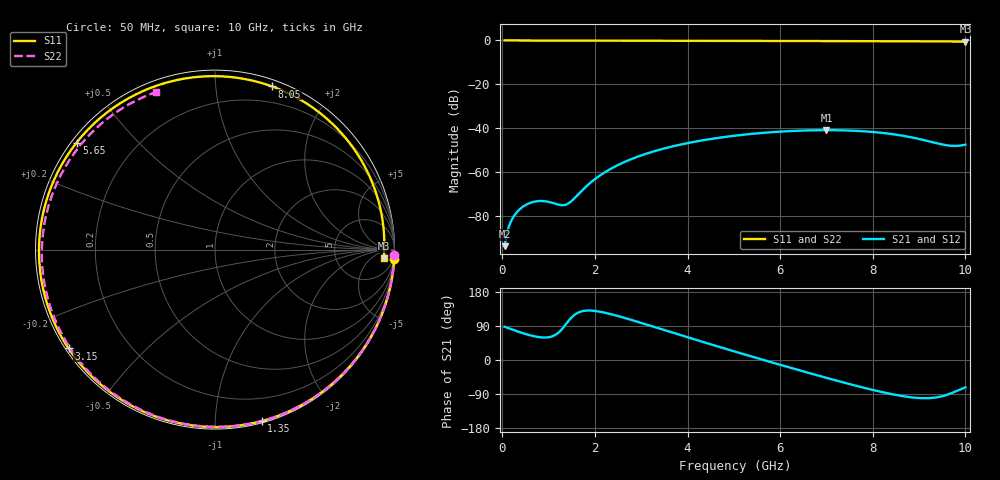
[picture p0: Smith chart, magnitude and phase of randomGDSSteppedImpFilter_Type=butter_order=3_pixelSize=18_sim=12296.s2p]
! freq	dB(S11)	phase(S11)	dB(S12)	phase(S12)
!  dB(S21)	phase(S21)	dB(S22)	phase(S22)
!S-par simulation data
#  GHz  S  DB  R 50
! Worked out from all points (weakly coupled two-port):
!   200 points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, 50 MHz to 10 GHz, reference 50 ohm
!   highest |S21| = -40.88 dB at 7 GHz (marker M1); lowest = -93.7 dB at 50 MHz (marker M2)
!   lowest |S11| = -0.5 dB at 10 GHz (marker M3), VSWR 33.23, Z = 966 - j819 ohm
!   |S11| at or under -10 dB: nowhere
!   |S22| runs from -0.6 to 0.0 dB; largest |S21 - S12| = 0
!   S11 on the Smith chart (normalised r, x): 50 MHz: 0, -38; 1.35 GHz: 0.01, -1.31; 3.15 GHz: 0.01, -0.31; 5.65 GHz: 0.01, +0.34; 8.05 GHz: 0.06, +1.41; 10 GHz: 19, -16
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0.05  -0.00 -3.0  -93.75 87.7  -93.75 87.7  -0.00 -1.6
0.25  -0.02 -14.9  -80.07 78.8  -80.07 78.8  -0.01 -8.0
0.45  -0.04 -26.5  -75.69 70.5  -75.69 70.5  -0.02 -14.3
0.7  -0.05 -40.7  -73.45 62.3  -73.45 62.3  -0.03 -22.2
1  -0.07 -57.0  -73.55 60.1  -73.55 60.1  -0.04 -31.5
1.35  -0.09 -74.8  -74.98 90.6  -74.98 90.6  -0.05 -42.2
1.5  -0.09 -81.9  -73.08 112.8  -73.08 112.8  -0.06 -46.7
1.75  -0.10 -93.3  -67.78 129.4  -67.78 129.4  -0.07 -54.1
2.35  -0.12 -117.9  -58.40 120.9  -58.40 120.9  -0.09 -71.2
3.15  -0.14 -146.0  -51.33 92.2  -51.33 92.2  -0.11 -92.7
3.4  -0.14 -153.9  -49.77 82.7  -49.77 82.7  -0.12 -99.1
4.2  -0.17 -177.6  -45.98 52.6  -45.98 52.6  -0.15 -118.7
5.05  -0.20 158.7  -43.33 21.3  -43.33 21.3  -0.19 -138.2
5.65  -0.22 142.3  -42.07 -0.3  -42.07 -0.3  -0.22 -151.5
6.7  -0.27 112.7  -40.94 -36.9  -40.94 -36.9  -0.29 -174.2
7  -0.28 103.9  -40.88 -47.1  -40.88 -47.1  -0.31 179.3
7.55  -0.30 87.0  -41.11 -65.2  -41.11 -65.2  -0.36 167.4
8.05  -0.33 70.7  -41.79 -80.4  -41.79 -80.4  -0.40 156.3
8.35  -0.34 60.5  -42.48 -88.6  -42.48 -88.6  -0.42 149.6
9.25  -0.41 27.4  -46.16 -100.3  -46.16 -100.3  -0.50 128.7
9.7  -0.47 9.5  -48.01 -87.4  -48.01 -87.4  -0.54 117.9
10  -0.52 -2.9  -47.49 -72.2  -47.49 -72.2  -0.57 110.4
